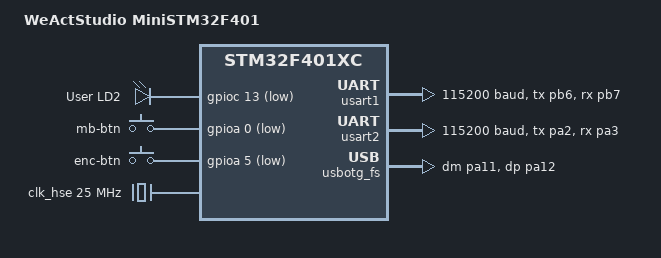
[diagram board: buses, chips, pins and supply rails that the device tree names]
/*
 * Copyright (c) 2017 Linaro Limited
 * Copyright (c) 2019 Centaur Analytics, Inc
 *
 * SPDX-License-Identifier: Apache-2.0
 */

/dts-v1/;
#include <st/f4/stm32f401Xc.dtsi>
#include <st/f4/stm32f401c(b-c)ux-pinctrl.dtsi>

/ {
	model = "WeActStudio MiniSTM32F401";
	compatible = "st,minif4_f401";

	chosen {
		zephyr,console = &usart1;
		zephyr,shell-uart = &usart1;
		zephyr,sram = &sram0;
		zephyr,flash = &flash0;
		zephyr,code-partition = &slot0_partition;
	};

	leds {
		compatible = "gpio-leds";
		green_led_2: led_2 {
			gpios = <&gpioc 13 GPIO_ACTIVE_LOW>;
			label = "User LD2";
		};
	};

	gpio_keys {
		compatible = "gpio-keys";
		mainboard_button: button {
			label = "mb-btn";
			gpios = <&gpioa 0 (GPIO_PULL_UP | GPIO_ACTIVE_LOW)>;
		};
		econder_button: button {
			label = "enc-btn";
			gpios = <&gpioa 5 (GPIO_ACTIVE_LOW)>;
		};
	};

	aliases {
		led0 = &green_led_2;
		sw0 = &econder_button;
	};
};

&clk_hse {
	clock-frequency = <DT_FREQ_M(25)>;
	status = "okay";
};

&pll {
	div-m = <25>;
	mul-n = <336>;
	div-p = <4>;
	div-q = <7>;
	clocks = <&clk_hse>;
	status = "okay";
};

&rcc {
	clocks = <&pll>;
	clock-frequency = <DT_FREQ_M(84)>;
	ahb-prescaler = <1>;
	apb1-prescaler = <2>;
	apb2-prescaler = <1>;
};

&usart1 {
	pinctrl-0 = <&usart1_tx_pb6 &usart1_rx_pb7>;
	pinctrl-names = "default";
	current-speed = <115200>;
	status = "okay";
};

&usart2 {
	pinctrl-0 = <&usart2_tx_pa2 &usart2_rx_pa3>;
	pinctrl-names = "default";
	current-speed = <115200>;
	status = "okay";
};

zephyr_udc0: &usbotg_fs {
	status = "okay";
	pinctrl-0 = <&usb_otg_fs_dm_pa11 &usb_otg_fs_dp_pa12>;
	pinctrl-names = "default";
};

&flash0 {

	partitions {
		compatible = "fixed-partitions";
		#address-cells = <1>;
		#size-cells = <1>;

		boot_partition: partition@0 {
			label = "mcuboot";
			reg = <0x00000000 DT_SIZE_K(64)>;
			read-only;
		};

		/*
		 * The flash starting at offset 0x10000 and ending at
		 * offset 0x1ffff is reserved for use by the application.
		 */

		slot0_partition: partition@20000 {
			label = "image-0";
			reg = <0x00020000 DT_SIZE_K(128)>;
		};
		slot1_partition: partition@40000 {
			label = "image-1";
			reg = <0x00040000 DT_SIZE_K(128)>;
		};
		scratch_partition: partition@60000 {
			label = "image-scratch";
			reg = <0x00060000 DT_SIZE_K(128)>;
		};
	};
};
